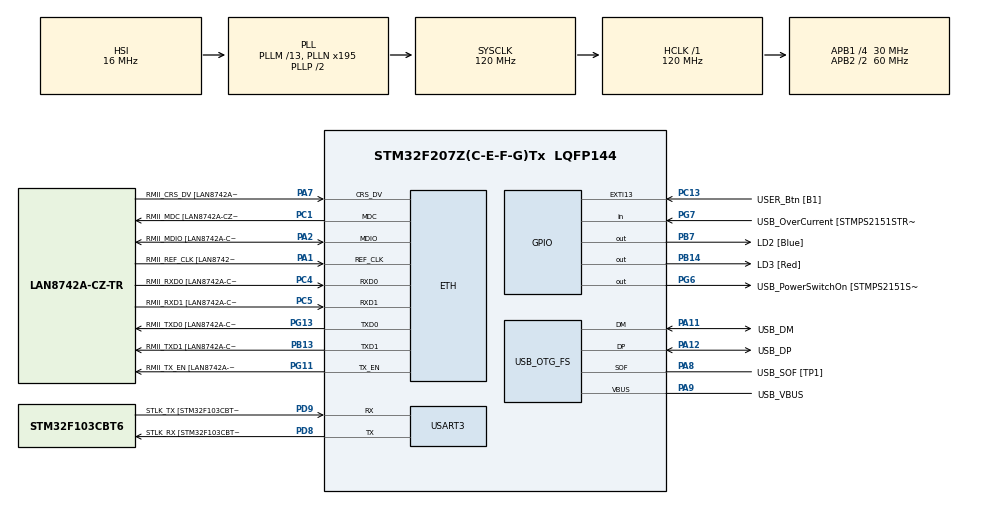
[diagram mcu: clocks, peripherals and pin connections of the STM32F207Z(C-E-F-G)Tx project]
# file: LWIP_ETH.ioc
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ETH.MediaInterface=ETH_MEDIA_INTERFACE_RMII
ETH.PHY_Name=LAN8742A_PHY_ADDRESS
ETH.PHY_Value=0
ETH.PhyAddress=0
FREERTOS.Tasks01=defaultTask,24,128,StartDefaultTask,Default,NULL,Dynamic,NULL,NULL
FREERTOS.configTOTAL_HEAP_SIZE=28672
FREERTOS.configUSE_NEWLIB_REENTRANT=1
LWIP.GATEWAY_ADDRESS=000.000.000.000
LWIP.IP_ADDRESS=192.168.010.010
LWIP.LWIP_DHCP=0
LWIP.MEM_SIZE=10240
LWIP.NETMASK_ADDRESS=255.255.255.000
LWIP.RTOS_USE_NEWLIB_REENTRANT=FREERTOS$context\:USE_NEWLIB_REENTRANT
LWIP.Version=v2.0.3_Cube
Mcu.Family=STM32F2
Mcu.Name=STM32F207Z(C-E-F-G)Tx
Mcu.Package=LQFP144
NVIC.ETH_IRQn=true\:5\:0\:false\:false\:true\:true\:true\:true\:true
NVIC.ETH_WKUP_IRQn=true\:5\:0\:false\:false\:true\:true\:true\:true\:true
NVIC.PriorityGroup=NVIC_PRIORITYGROUP_4
NVIC.TIM6_DAC_IRQn=true\:15\:0\:false\:false\:true\:false\:false\:true\:true
NVIC.TimeBase=TIM6_DAC_IRQn
NVIC.TimeBaseIP=TIM6
PA1.GPIO_Label=RMII_REF_CLK [LAN8742A-CZ-TR_REFCLK0]
PA1.Mode=RMII
PA1.Signal=ETH_REF_CLK
PA10.GPIO_Label=USB_ID
PA10.Signal=USB_OTG_FS_ID
PA11.GPIO_Label=USB_DM
PA11.Mode=Device_Only
PA11.Signal=USB_OTG_FS_DM
PA12.GPIO_Label=USB_DP
PA12.Mode=Device_Only
PA12.Signal=USB_OTG_FS_DP
PA13.GPIO_Label=TMS
PA13.Mode=Serial_Wire
PA13.Signal=SYS_JTMS-SWDIO
PA14.GPIO_Label=TCK
PA14.Mode=Serial_Wire
PA14.Signal=SYS_JTCK-SWCLK
PA2.GPIO_Label=RMII_MDIO [LAN8742A-CZ-TR_MDIO]
PA2.Mode=RMII
PA2.Signal=ETH_MDIO
PA7.GPIO_Label=RMII_CRS_DV [LAN8742A-CZ-TR_CRS_DV]
PA7.Mode=RMII
PA7.Signal=ETH_CRS_DV
PA8.GPIO_Label=USB_SOF [TP1]
PA8.Mode=Activate_SOF_FS
PA8.Signal=USB_OTG_FS_SOF
PA9.GPIO_Label=USB_VBUS
PA9.Mode=Activate_VBUS
PA9.Signal=USB_OTG_FS_VBUS
PB13.GPIO_Label=RMII_TXD1 [LAN8742A-CZ-TR_TXD1]
PB13.Mode=RMII
PB13.Signal=ETH_TXD1
PB14.GPIO_Label=LD3 [Red]
PB14.Signal=GPIO_Output
PB3.GPIO_Label=SWO
PB3.Signal=SYS_JTDO-SWO
PB7.GPIO_Label=LD2 [Blue]
PB7.Signal=GPIO_Output
PC1.GPIO_Label=RMII_MDC [LAN8742A-CZ-TR_MDC]
PC1.Mode=RMII
PC1.Signal=ETH_MDC
PC13.GPIO_Label=USER_Btn [B1]
PC13.Signal=GPXTI13
PC14-OSC32_IN.Signal=RCC_OSC32_IN
PC15-OSC32_OUT.Signal=RCC_OSC32_OUT
PC4.GPIO_Label=RMII_RXD0 [LAN8742A-CZ-TR_RXD0]
PC4.Mode=RMII
PC4.Signal=ETH_RXD0
PC5.GPIO_Label=RMII_RXD1 [LAN8742A-CZ-TR_RXD1]
PC5.Mode=RMII
PC5.Signal=ETH_RXD1
PD8.GPIO_Label=STLK_RX [STM32F103CBT6_PA2]
PD8.Mode=Asynchronous
PD8.Signal=USART3_TX
PD9.GPIO_Label=STLK_TX [STM32F103CBT6_PA3]
PD9.Mode=Asynchronous
PD9.Signal=USART3_RX
PG11.GPIO_Label=RMII_TX_EN [LAN8742A-CZ-TR_TXEN]
PG11.Mode=RMII
PG11.Signal=ETH_TX_EN
PG13.GPIO_Label=RMII_TXD0 [LAN8742A-CZ-TR_TXD0]
PG13.Mode=RMII
PG13.Signal=ETH_TXD0
PG6.GPIO_Label=USB_PowerSwitchOn [STMPS2151STR_EN]
PG6.Signal=GPIO_Output
PG7.GPIO_Label=USB_OverCurrent [STMPS2151STR_FAULT]
PG7.Signal=GPIO_Input
PH0-OSC_IN.GPIO_Label=MCO [STM32F103CBT6_PA8]
PH0-OSC_IN.Mode=HSE-External-Oscillator
PH0-OSC_IN.Signal=RCC_OSC_IN
PH1-OSC_OUT.Mode=HSE-External-Oscillator
PH1-OSC_OUT.Signal=RCC_OSC_OUT
ProjectManager.HeapSize=0x200
ProjectManager.StackSize=0x400
ProjectManager.TargetToolchain=STM32CubeIDE
RCC.48MHZClocksFreq_Value=48000000
RCC.AHBFreq_Value=120000000
RCC.APB1CLKDivider=RCC_HCLK_DIV4
RCC.APB1Freq_Value=30000000
RCC.APB1TimFreq_Value=60000000
RCC.APB2CLKDivider=RCC_HCLK_DIV2
RCC.APB2Freq_Value=60000000
RCC.APB2TimFreq_Value=120000000
RCC.CortexFreq_Value=120000000
RCC.HCLKFreq_Value=120000000
RCC.HSE_VALUE=8000000
RCC.HSI_VALUE=16000000
RCC.LSE_VALUE=32768
RCC.PLLM=13
RCC.PLLMUL=RCC_PLL_MUL9
RCC.PLLN=195
RCC.PLLQ=5
RCC.PRESCALERUSB=RCC_USBCLKSOURCE_PLL_DIV1_5
RCC.SYSCLKFreq_VALUE=120000000
RCC.SYSCLKSource=RCC_SYSCLKSOURCE_PLLCLK
RCC.SYSCLKSourceVirtual=RCC_SYSCLKSOURCE_PLLCLK
RCC.USBFreq_Value=48000000
RCC.VCOOutputFreq_Value=240000000
USART3.VirtualMode=VM_ASYNC
USB_OTG_FS.VirtualMode=Device_Only
VP_FREERTOS_VS_CMSIS_V2.Mode=CMSIS_V2
VP_LWIP_VS_Enabled.Mode=Enabled
VP_SYS_VS_tim6.Mode=TIM6
board=NUCLEO-F207ZG

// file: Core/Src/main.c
/* USER CODE BEGIN Header */
/**
 ******************************************************************************
 * @file           : main.c
 * @brief          : STM32F207ZG — LwIP + Paho MQTT Hello World
 *
 * Publishes "Hello from STM32! count=N" to topic mqtt/hello
 * every 2 seconds via Mosquitto broker on friend's PC (192.168.1.100).
 *
 * STM32 IP : 192.168.1.10   (set in lwip.c)
 * Broker   : 192.168.1.100:1883
 ******************************************************************************
 */
/* USER CODE END Header */
#include "main.h"
#include "cmsis_os.h"
#include "lwip.h"

/* USER CODE BEGIN Includes */
// #include "mqtt_app.h"   /* MQTT publish task — COMMENTED OUT */
#include "tcp_hello.h"     /* TCP Hello World sender */
#include <stdio.h>
#include <string.h>
#include "lwip/netif.h"

extern struct netif gnetif;
/* USER CODE END Includes */

UART_HandleTypeDef huart3;

PCD_HandleTypeDef hpcd_USB_OTG_FS;

/* Definitions for defaultTask */
osThreadId_t defaultTaskHandle;
const osThreadAttr_t defaultTask_attributes = {
  .name = "defaultTask",
  .stack_size = 512 * 4,
  .priority = (osPriority_t) osPriorityNormal,
};

void SystemClock_Config(void);
static void MX_GPIO_Init(void);
static void MX_USART3_UART_Init(void);
static void MX_USB_OTG_FS_PCD_Init(void);
void StartDefaultTask(void *argument);

/* USER CODE BEGIN 0 */
/* printf → UART3 (visible in serial terminal at 115200 baud) */
#ifdef __GNUC__
int __io_putchar(int ch) {
  HAL_UART_Transmit(&huart3, (uint8_t *)&ch, 1, HAL_MAX_DELAY);
  return ch;
}
#endif
/* USER CODE END 0 */

int main(void)
{

  /* MCU Configuration--------------------------------------------------------*/

  /* Reset of all peripherals, Initializes the Flash interface and the Systick. */
  HAL_Init();

  /* Configure the system clock */
  SystemClock_Config();

  /* Initialize all configured peripherals */
  MX_GPIO_Init();
  MX_USART3_UART_Init();
  MX_USB_OTG_FS_PCD_Init();
  /* USER CODE BEGIN 2 */
  /* Disable stdout buffering so printf appears immediately */
  setvbuf(stdout, NULL, _IONBF, 0);

  printf("\r\n");
  printf("============================================\r\n");
  printf("  STM32F207ZG — TCP Hello World\r\n");
  printf("  STM32 IP : 192.168.7.20\r\n");
  printf("  PC       : 192.168.7.10:7777\r\n");
  printf("============================================\r\n\r\n");
  /* USER CODE END 2 */

  /* Init scheduler */
  osKernelInitialize();

  /* Create the thread(s) */
  /* creation of defaultTask */
  defaultTaskHandle = osThreadNew(StartDefaultTask, NULL, &defaultTask_attributes);

  /* Start scheduler */
  osKernelStart();

  /* We should never get here as control is now taken by the scheduler */

  /* Infinite loop */
  while (1) {

    /* USER CODE BEGIN 3 */
    /* Never reached — RTOS scheduler took over */
  }
  /* USER CODE END 3 */
}

void SystemClock_Config(void)
{
  RCC_OscInitTypeDef RCC_OscInitStruct = {0};
  RCC_ClkInitTypeDef RCC_ClkInitStruct = {0};

  /** Initializes the RCC Oscillators according to the specified parameters
  * in the RCC_OscInitTypeDef structure.
  */
  RCC_OscInitStruct.OscillatorType = RCC_OSCILLATORTYPE_HSI;
  RCC_OscInitStruct.HSIState = RCC_HSI_ON;
  RCC_OscInitStruct.HSICalibrationValue = RCC_HSICALIBRATION_DEFAULT;
  RCC_OscInitStruct.PLL.PLLState = RCC_PLL_ON;
  RCC_OscInitStruct.PLL.PLLSource = RCC_PLLSOURCE_HSI;
  RCC_OscInitStruct.PLL.PLLM = 13;
  RCC_OscInitStruct.PLL.PLLN = 195;
  RCC_OscInitStruct.PLL.PLLP = RCC_PLLP_DIV2;
  RCC_OscInitStruct.PLL.PLLQ = 5;
  if (HAL_RCC_OscConfig(&RCC_OscInitStruct) != HAL_OK)
  {
    Error_Handler();
  }

  /** Initializes the CPU, AHB and APB buses clocks
  */
  RCC_ClkInitStruct.ClockType = RCC_CLOCKTYPE_HCLK|RCC_CLOCKTYPE_SYSCLK
                              |RCC_CLOCKTYPE_PCLK1|RCC_CLOCKTYPE_PCLK2;
  RCC_ClkInitStruct.SYSCLKSource = RCC_SYSCLKSOURCE_PLLCLK;
  RCC_ClkInitStruct.AHBCLKDivider = RCC_SYSCLK_DIV1;
  RCC_ClkInitStruct.APB1CLKDivider = RCC_HCLK_DIV4;
  RCC_ClkInitStruct.APB2CLKDivider = RCC_HCLK_DIV2;

  if (HAL_RCC_ClockConfig(&RCC_ClkInitStruct, FLASH_LATENCY_3) != HAL_OK)
  {
    Error_Handler();
  }
}

static void MX_USART3_UART_Init(void)
{

  huart3.Instance = USART3;
  huart3.Init.BaudRate = 115200;
  huart3.Init.WordLength = UART_WORDLENGTH_8B;
  huart3.Init.StopBits = UART_STOPBITS_1;
  huart3.Init.Parity = UART_PARITY_NONE;
  huart3.Init.Mode = UART_MODE_TX_RX;
  huart3.Init.HwFlowCtl = UART_HWCONTROL_NONE;
  huart3.Init.OverSampling = UART_OVERSAMPLING_16;
  if (HAL_UART_Init(&huart3) != HAL_OK)
  {
    Error_Handler();
  }

}

static void MX_USB_OTG_FS_PCD_Init(void)
{

  hpcd_USB_OTG_FS.Instance = USB_OTG_FS;
  hpcd_USB_OTG_FS.Init.dev_endpoints = 4;
  hpcd_USB_OTG_FS.Init.speed = PCD_SPEED_FULL;
  hpcd_USB_OTG_FS.Init.dma_enable = DISABLE;
  hpcd_USB_OTG_FS.Init.phy_itface = PCD_PHY_EMBEDDED;
  hpcd_USB_OTG_FS.Init.Sof_enable = ENABLE;
  hpcd_USB_OTG_FS.Init.low_power_enable = DISABLE;
  hpcd_USB_OTG_FS.Init.vbus_sensing_enable = ENABLE;
  hpcd_USB_OTG_FS.Init.use_dedicated_ep1 = DISABLE;
  if (HAL_PCD_Init(&hpcd_USB_OTG_FS) != HAL_OK)
  {
    Error_Handler();
  }

}

static void MX_GPIO_Init(void)
{
  GPIO_InitTypeDef GPIO_InitStruct = {0};

  /* GPIO Ports Clock Enable */
  __HAL_RCC_GPIOC_CLK_ENABLE();
  __HAL_RCC_GPIOH_CLK_ENABLE();
  __HAL_RCC_GPIOA_CLK_ENABLE();
  __HAL_RCC_GPIOB_CLK_ENABLE();
  __HAL_RCC_GPIOD_CLK_ENABLE();
  __HAL_RCC_GPIOG_CLK_ENABLE();

  /*Configure GPIO pin Output Level */
  HAL_GPIO_WritePin(GPIOB, LD3_Pin|LD2_Pin, GPIO_PIN_RESET);

  /*Configure GPIO pin Output Level */
  HAL_GPIO_WritePin(USB_PowerSwitchOn_GPIO_Port, USB_PowerSwitchOn_Pin, GPIO_PIN_RESET);

  /*Configure GPIO pin : USER_Btn_Pin */
  GPIO_InitStruct.Pin = USER_Btn_Pin;
  GPIO_InitStruct.Mode = GPIO_MODE_IT_RISING;
  GPIO_InitStruct.Pull = GPIO_NOPULL;
  HAL_GPIO_Init(USER_Btn_GPIO_Port, &GPIO_InitStruct);

  /*Configure GPIO pins : LD3_Pin LD2_Pin */
  GPIO_InitStruct.Pin = LD3_Pin|LD2_Pin;
  GPIO_InitStruct.Mode = GPIO_MODE_OUTPUT_PP;
  GPIO_InitStruct.Pull = GPIO_NOPULL;
  GPIO_InitStruct.Speed = GPIO_SPEED_FREQ_LOW;
  HAL_GPIO_Init(GPIOB, &GPIO_InitStruct);

  /*Configure GPIO pin : USB_PowerSwitchOn_Pin */
  GPIO_InitStruct.Pin = USB_PowerSwitchOn_Pin;
  GPIO_InitStruct.Mode = GPIO_MODE_OUTPUT_PP;
  GPIO_InitStruct.Pull = GPIO_NOPULL;
  GPIO_InitStruct.Speed = GPIO_SPEED_FREQ_LOW;
  HAL_GPIO_Init(USB_PowerSwitchOn_GPIO_Port, &GPIO_InitStruct);

  /*Configure GPIO pin : USB_OverCurrent_Pin */
  GPIO_InitStruct.Pin = USB_OverCurrent_Pin;
  GPIO_InitStruct.Mode = GPIO_MODE_INPUT;
  GPIO_InitStruct.Pull = GPIO_NOPULL;
  HAL_GPIO_Init(USB_OverCurrent_GPIO_Port, &GPIO_InitStruct);

}

void StartDefaultTask(void *argument)
{
  /* init code for LWIP */
  MX_LWIP_Init();
  /* USER CODE BEGIN 5 */
  /* Hand off to TCP Hello World sender — never returns */
  TCP_Hello_Task(argument);
  // MQTT_Task(argument);  /* MQTT — commented out */
  /* USER CODE END 5 */
}

void HAL_TIM_PeriodElapsedCallback(TIM_HandleTypeDef *htim)
{
  if (htim->Instance == TIM6)
  {
    HAL_IncTick();
  }
}

void Error_Handler(void)
{
  /* USER CODE BEGIN Error_Handler_Debug */
  __disable_irq();
  /* Red LED on to signal fault */
  HAL_GPIO_WritePin(LD3_GPIO_Port, LD3_Pin, GPIO_PIN_SET);
  while (1) {
  }
  /* USER CODE END Error_Handler_Debug */
}
#ifdef USE_FULL_ASSERT
/**
  * @brief  Reports the name of the source file and the source line number
  *         where the assert_param error has occurred.
  * @param  file: pointer to the source file name
  * @param  line: assert_param error line source number
  * @retval None
  */
void assert_failed(uint8_t *file, uint32_t line)
{
  /* USER CODE BEGIN 6 */
  /* User can add his own implementation to report the file name and line
     number, ex: printf("Wrong parameters value: file %s on line %d\r\n", file,
     line) */
  /* USER CODE END 6 */
}
#endif /* USE_FULL_ASSERT */
